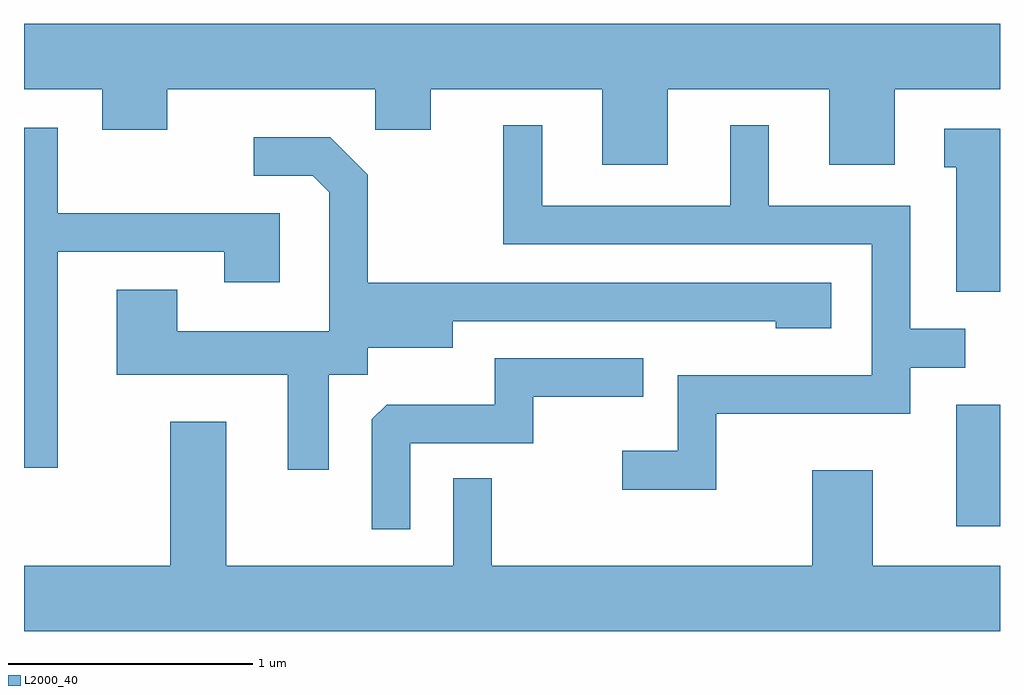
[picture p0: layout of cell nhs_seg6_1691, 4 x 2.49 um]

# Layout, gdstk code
import gdstk
lib = gdstk.Library(unit=1e-6, precision=1e-09)
def R(c, l, rs):  # rectangles x0, y0, x1, y1
    for r in rs: c.add(gdstk.rectangle(r[:2], r[2:], *l))
def P(c, l, *ps):  # polygons
    for p in ps: c.add(gdstk.Polygon(p, *l))
L2000_40 = (2000, 40)

nhs_seg6_1691 = lib.new_cell('nhs_seg6_1691')
R(nhs_seg6_1691, L2000_40, [(239.431,1632.606,239.611,1633.104)])
P(nhs_seg6_1691, L2000_40, [(238.249,1634.396),(238.911,1634.396),(238.911,1634.086),(239.179,1634.086),(239.179,1634.396),(239.611,1634.396),(239.611,1634.664),(235.611,1634.664),(235.611,1634.396),(235.931,1634.396),(235.931,1634.231),(236.199,1634.231),(236.199,1634.396),(237.051,1634.396),(237.051,1634.231),(237.279,1634.231),(237.279,1634.396),(237.981,1634.396),(237.981,1634.086),(238.249,1634.086)],
  [(238.449,1633.066),(239.244,1633.066),(239.244,1633.256),(239.468,1633.256),(239.468,1633.414),(239.244,1633.414),(239.244,1633.919),(238.664,1633.919),(238.664,1634.248),(238.506,1634.248),(238.506,1633.919),(237.734,1633.919),(237.734,1634.248),(237.576,1634.248),(237.576,1633.761),(239.086,1633.761),(239.086,1633.224),(238.291,1633.224),(238.291,1632.914),(238.063,1632.914),(238.063,1632.756),(238.449,1632.756)],
  [(235.749,1633.731),(236.431,1633.731),(236.431,1633.606),(236.659,1633.606),(236.659,1633.889),(235.749,1633.889),(235.749,1634.239),(235.611,1634.239),(235.611,1632.846),(235.749,1632.846)],
  [(239.611,1634.234),(239.383,1634.234),(239.383,1634.076),(239.431,1634.076),(239.431,1633.566),(239.611,1633.566)],
  [(236.859,1633.226),(237.019,1633.226),(237.019,1633.336),(237.369,1633.336),(237.369,1633.446),(238.691,1633.446),(238.691,1633.416),(238.919,1633.416),(238.919,1633.604),(237.019,1633.604),(237.019,1634.047),(236.867,1634.199),(236.553,1634.199),(236.553,1634.041),(236.794,1634.041),(236.861,1633.974),(236.861,1633.404),(236.239,1633.404),(236.239,1633.574),(235.991,1633.574),(235.991,1633.226),(236.691,1633.226),(236.691,1632.838),(236.859,1632.838)],
  [(237.194,1632.946),(237.699,1632.946),(237.699,1633.136),(238.148,1633.136),(238.148,1633.294),(237.541,1633.294),(237.541,1633.104),(237.097,1633.104),(237.036,1633.044),(237.036,1632.593),(237.194,1632.593)],
  [(239.611,1632.444),(239.089,1632.444),(239.089,1632.834),(238.841,1632.834),(238.841,1632.444),(237.529,1632.444),(237.529,1632.803),(237.371,1632.803),(237.371,1632.444),(236.439,1632.444),(236.439,1633.034),(236.211,1633.034),(236.211,1632.444),(235.611,1632.444),(235.611,1632.176),(239.611,1632.176)])

lib.write_gds('nhs_seg6_1691.gds')
